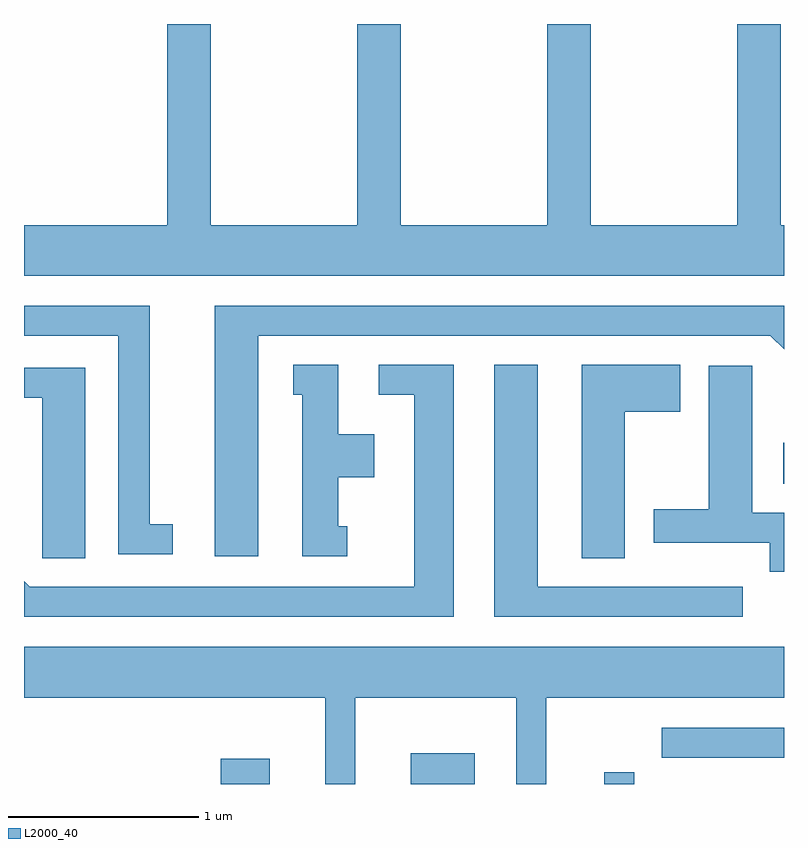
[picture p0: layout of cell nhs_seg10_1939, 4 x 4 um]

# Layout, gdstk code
import gdstk
lib = gdstk.Library(unit=1e-6, precision=1e-09)
def R(c, l, rs):  # rectangles x0, y0, x1, y1
    for r in rs: c.add(gdstk.rectangle(r[:2], r[2:], *l))
def P(c, l, *ps):  # polygons
    for p in ps: c.add(gdstk.Polygon(p, *l))
L2000_40 = (2000, 40)

nhs_seg10_1939 = lib.new_cell('nhs_seg10_1939')
R(nhs_seg10_1939, L2000_40, [(242.646,2164.522,242.904,2164.654), (243.646,2164.522,243.984,2164.684), (244.666,2164.522,244.824,2164.583), (244.968,2164.661,245.611,2164.819), (245.606,2166.101,245.611,2166.319)])
P(nhs_seg10_1939, L2000_40, [(245.611,2167.464),(245.594,2167.464),(245.594,2168.522),(245.366,2168.522),(245.366,2167.464),(244.594,2167.464),(244.594,2168.522),(244.366,2168.522),(244.366,2167.464),(243.594,2167.464),(243.594,2168.522),(243.366,2168.522),(243.366,2167.464),(242.594,2167.464),(242.594,2168.522),(242.366,2168.522),(242.366,2167.464),(241.611,2167.464),(241.611,2167.196),(245.611,2167.196)],
  [(242.393,2165.889),(242.274,2165.889),(242.274,2167.039),(241.611,2167.039),(241.611,2166.881),(242.106,2166.881),(242.106,2165.731),(242.393,2165.731)],
  [(242.844,2166.881),(245.539,2166.881),(245.611,2166.809),(245.611,2167.039),(242.616,2167.039),(242.616,2165.721),(242.844,2165.721)],
  [(243.874,2166.729),(243.478,2166.729),(243.478,2166.571),(243.666,2166.571),(243.666,2165.559),(241.642,2165.559),(241.611,2165.59),(241.611,2165.401),(243.874,2165.401)],
  [(245.393,2165.559),(244.314,2165.559),(244.314,2166.729),(244.086,2166.729),(244.086,2165.401),(245.393,2165.401)],
  [(243.313,2165.879),(243.264,2165.879),(243.264,2166.136),(243.454,2166.136),(243.454,2166.364),(243.264,2166.364),(243.264,2166.729),(243.028,2166.729),(243.028,2166.571),(243.076,2166.571),(243.076,2165.721),(243.313,2165.721)],
  [(244.774,2166.481),(245.064,2166.481),(245.064,2166.729),(244.546,2166.729),(244.546,2165.711),(244.774,2165.711)],
  [(245.611,2165.949),(245.444,2165.949),(245.444,2166.724),(245.216,2166.724),(245.216,2165.969),(244.926,2165.969),(244.926,2165.791),(245.536,2165.791),(245.536,2165.638),(245.611,2165.638)],
  [(241.934,2166.714),(241.611,2166.714),(241.611,2166.556),(241.706,2166.556),(241.706,2165.711),(241.934,2165.711)],
  [(243.354,2164.976),(244.201,2164.976),(244.201,2164.522),(244.359,2164.522),(244.359,2164.976),(245.611,2164.976),(245.611,2165.244),(241.611,2165.244),(241.611,2164.976),(243.196,2164.976),(243.196,2164.522),(243.354,2164.522)])

lib.write_gds('nhs_seg10_1939.gds')
